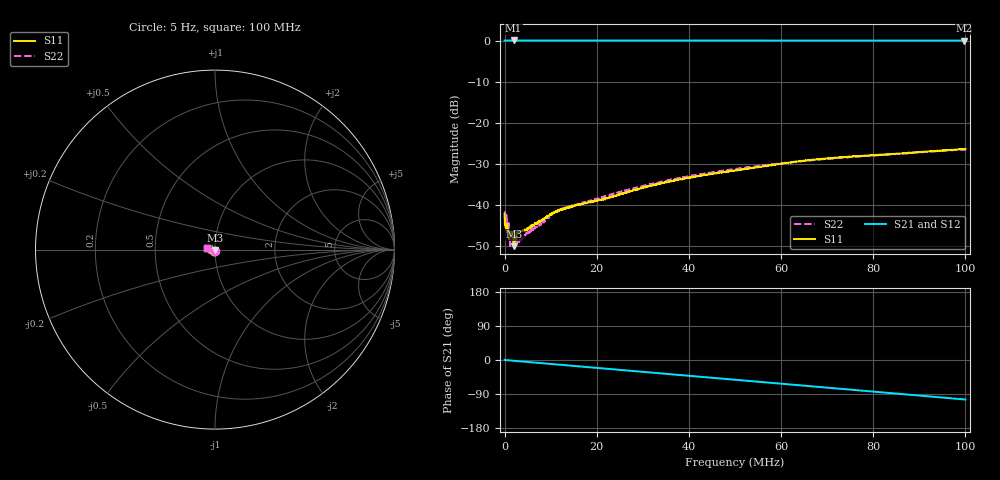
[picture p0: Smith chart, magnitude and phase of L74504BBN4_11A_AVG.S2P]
!Agilent Technologies,E5061B,MY49102235,A.02.00
!Date: Tue Jul 11 16:38:29 2023
!Data & Calibration Information:
!Freq	S11:SOLT2(ON)	S21:SOLT2(ON)	S12:SOLT2(ON)	S22:SOLT2(ON)
# Hz S RI R 50
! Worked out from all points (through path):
!   1600 points, 5 Hz to 100 MHz, reference 50 ohm
!   highest |S21| = 0.02 dB at 1.939 MHz (marker M1); lowest = 0.0 dB at 99.75 MHz (marker M2)
!   group delay of S21, straight-line fit = 2.9 ns
!   lowest |S11| = -50.0 dB at 2.126 MHz (marker M3), VSWR 1.01, Z = 50.3 - j0.158 ohm
!   |S11| at or under -10 dB: start of sweep to end of sweep
!   |S22| runs from -50.0 to -26.5 dB; largest |S21 - S12| = 0.0026
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5  -0.00525 -0.00565  1.002 0.008  1 0.0102  -0.00152 -0.00754
437778.6  0.00515 -0.000307  1.001 -0.00559  1.001 -0.00644  0.00663 -0.00193
625395.8  0.00507 -0.000225  1.002 -0.0109  1.002 -0.0104  0.00609 -0.000615
1000630  0.0038 -0.000115  1.001 -0.0171  1.001 -0.0165  0.00518 -0.00102
1500943  0.00439 -0.00152  1.001 -0.0259  1.001 -0.0259  0.00306 -0.00269
1938717  0.00319 -0.00105  1.002 -0.0349  1.001 -0.0344  0.00348 -0.000784
2126334  0.00273 -0.00157  1.001 -0.0387  1 -0.0382  0.00388 -0.000996
2439029  0.00383 -0.00142  0.9996 -0.0447  0.9994 -0.0442  0.00369 -0.000951
2939342  0.0043 -0.00166  0.9995 -0.0532  0.9991 -0.0533  0.00326 -0.00131
3314576  0.00438 -0.00187  0.9992 -0.06  0.999 -0.0599  0.00336 -0.00164
5065671  0.00394 -0.00308  0.9967 -0.0918  0.9967 -0.0915  0.00359 -0.00284
8255164  0.00299 -0.00596  0.9898 -0.1496  0.9897 -0.1494  0.00281 -0.00554
1.025641e7  0.00205 -0.00734  0.9838 -0.1854  0.9837 -0.1851  0.00134 -0.00764
1.282052e7  0.000908 -0.00888  0.9738 -0.2311  0.9738 -0.2307  -1.59e-05 -0.00919
1.669794e7  -0.000815 -0.0102  0.9548 -0.2991  0.9547 -0.2987  -0.00116 -0.0104
2.582865e7  -0.00388 -0.0132  0.8926 -0.4527  0.8924 -0.4525  -0.0019 -0.0146
3.333334e7  -0.00812 -0.0161  0.8224 -0.5699  0.8223 -0.5696  -0.00695 -0.0173
5.003127e7  -0.0187 -0.0184  0.6141 -0.7899  0.614 -0.7895  -0.0192 -0.0193
6.672921e7  -0.0321 -0.0153  0.3491 -0.9368  0.3494 -0.9369  -0.0316 -0.0149
8.33646e7  -0.0411 -0.00422  0.0538 -0.9979  0.0538 -0.9979  -0.0407 -0.0049
9.974984e7  -0.0469 0.00981  -0.2423 -0.9684  -0.242 -0.9686  -0.0462 0.0086
1e8  -0.0469 0.00999  -0.2467 -0.9675  -0.2466 -0.9676  -0.0464 0.00899
